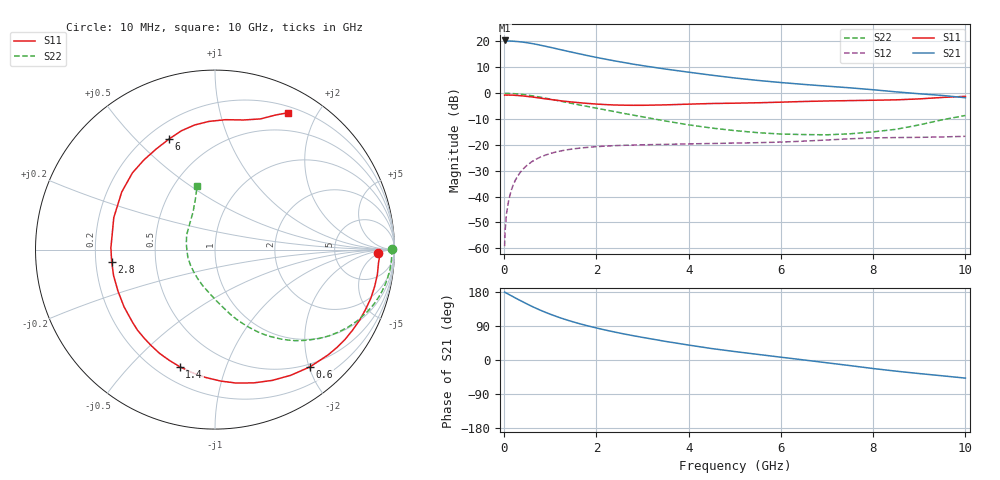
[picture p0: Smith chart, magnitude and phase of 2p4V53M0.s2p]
! (c) 2009  Infineon Technologies AG, Munich
! Infineon Technologies  Discrete & RF Semiconductors
! BFP420
! VCE =  4.5 V,  IC =  3.0 mA
! Common Emitter S-Parameters:  Nov 2009
# GHz  S  MA  R  50
!  f  S11  S21  S12  S22
! GHz  MAG  ANG  MAG  ANG  MAG  ANG  MAG  ANG
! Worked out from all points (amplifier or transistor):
!   46 points, 10 MHz to 10 GHz, reference 50 ohm
!   highest |S21| = 20.3 dB at 10 MHz (marker M1)
!   |S21| within 3 dB of that: start of sweep to 1.086 GHz
!   unconditionally stable (mu >= 1): start of sweep to 10.95 MHz; 3.553 GHz to end of sweep
!   at 300 MHz: K = 0.11, MSG = 25.9 dB, |S12| = -31.9 dB
!   at 1.7 GHz: K = 0.43, MSG = 18.0 dB, |S12| = -21.2 dB
!   at 10 GHz: K = 1.17, MAG = 5.0 dB, |S12| = -16.7 dB
!   lowest NFmin = 0.57 dB at 900 MHz
!   S11 on the Smith chart (normalised r, x): 10 MHz: 20, -5; 600 MHz: 0.45, -2.01; 1.4 GHz: 0.29, -0.70; 2.8 GHz: 0.27, -0.05; 6 GHz: 0.28, +0.63; 10 GHz: 0.27, +1.63
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0.01  0.9107 -1.2  10.39 179.1  0.0011 18.6  0.9849 0.2
0.02  0.92 -1.7  10.09 178.6  0.0021 54.5  0.9851 -0.9
0.05  0.9142 -4.3  10.1 176.4  0.0046 73.2  0.9854 -2.2
0.15  0.9129 -13.1  10.1 169.9  0.0129 77.3  0.9801 -7.0
0.3  0.8964 -26.1  9.878 160.1  0.0254 73.2  0.9597 -13.9
0.4  0.8806 -34.6  9.652 153.8  0.0332 69.2  0.9394 -18.3
0.6  0.8406 -51.0  9.066 141.6  0.0472 61.4  0.8874 -26.5
0.8  0.7954 -66.4  8.36 130.7  0.0587 54.2  0.8268 -33.8
1  0.7528 -81.0  7.657 120.8  0.0679 47.7  0.7646 -40.3
1.2  0.7141 -94.3  6.973 112.0  0.0752 42.2  0.7041 -46.0
1.4  0.6814 -106.8  6.355 104.1  0.081 37.4  0.6487 -51.0
1.7  0.6423 -123.6  5.563 93.7  0.0875 31.4  0.5742 -57.5
1.9  0.623 -133.8  5.097 87.5  0.0907 28.0  0.5302 -61.4
2.2  0.5986 -147.9  4.514 78.9  0.0945 23.7  0.4723 -66.4
2.8  0.5795 -173.4  3.619 64.1  0.099 16.8  0.3744 -76.2
3.5  0.5915 162.4  2.909 49.1  0.102 11.2  0.2884 -87.9
4.5  0.6281 137.1  2.215 30.2  0.106 5.8  0.2108 -109.4
5.5  0.6493 120.3  1.755 14.8  0.11 2.3  0.1717 -133.6
6  0.6669 112.6  1.597 7.4  0.1129 1.1  0.1615 -148.0
7  0.7033 99.4  1.36 -7.4  0.1239 -2.2  0.1562 -176.8
8.5  0.7397 77.5  1.054 -29.5  0.138 -12.7  0.1996 135.3
10  0.863 62.0  0.813 -47.8  0.1459 -19.6  0.3689 105.6
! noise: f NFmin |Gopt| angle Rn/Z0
0.9  0.57  0.35  33  0.18
1.8  1.02  0.2  79  0.14
2.4  1.1  0.23  104  0.14
3  1.25  0.24  144  0.11
4  1.46  0.33  -159  0.1
5  1.9  0.39  -128  0.22
6  2.46  0.48  -107  0.35
